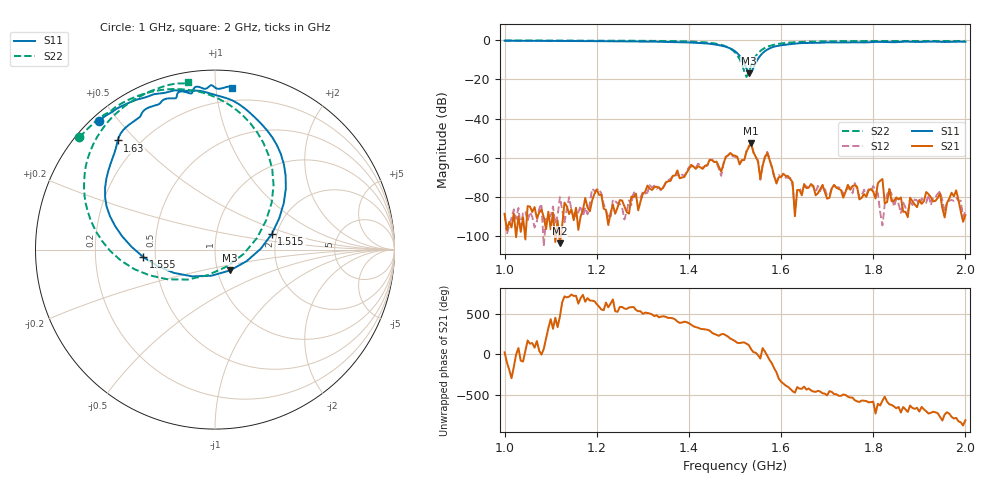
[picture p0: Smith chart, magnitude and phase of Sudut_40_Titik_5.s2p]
# Hz S RI R 50
! CMT, C1220, 16058040, 17.2.0/1
! Date: 14/08/2018 11:46:19
! Data: Format (Calibration Info)
! Freq  S11: Re/Im (F2)  S21: Re/Im (F2)  S12: Re/Im (F2)  S22: Re/Im (F2)
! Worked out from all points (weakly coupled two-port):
!   201 points, 1 GHz to 2 GHz, reference 50 ohm
!   highest |S21| = -52.52 dB at 1.535 GHz (marker M1); lowest = -103.7 dB at 1.12 GHz (marker M2)
!   lowest |S11| = -16.9 dB at 1.53 GHz (marker M3), VSWR 1.33, Z = 57.3 - j13.6 ohm
!   |S11| at or under -10 dB: 1.516 GHz to 1.549 GHz (33.08 MHz wide, 2.16 % of centre)
!   |S22| runs from -18.8 to -0.2 dB; largest |S21 - S12| = 0.00027
!   S11 on the Smith chart (normalised r, x): 1 GHz: 0.02, +0.44; 1.515 GHz: 1.88, +0.37; 1.555 GHz: 0.43, -0.04; 1.63 GHz: 0.12, +0.44; 2 GHz: 0.11, +1.11
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1e9  -0.6488 0.7152  3.42e-05 1.48e-05  -1.18e-05 -3.5e-05  -0.755 0.6247
1.12e9  -0.5246 0.7973  -1.77e-06 6.26e-06  9.31e-05 -3.42e-05  -0.6652 0.7138
1.17e9  -0.4678 0.823  4.49e-05 1.11e-05  3.16e-05 6.16e-06  -0.618 0.751
1.335e9  -0.2021 0.8857  -1.82e-05 0.000171  4.41e-06 0.000177  -0.4006 0.8663
1.45e9  0.184 0.7716  -5.52e-05 -0.000862  -0.000137 -0.000903  0.0218 0.8395
1.47e9  0.2909 0.6632  -0.000177 -0.0004  -0.000169 -0.000301  0.1619 0.741
1.48e9  0.3452 0.5816  -0.000607 -0.000857  -0.000566 -0.000882  0.2357 0.6524
1.5e9  0.3946 0.3397  -0.00108 0.000324  -0.001 0.000329  0.3262 0.3583
1.515e9  0.3165 0.0871  -0.000701 0.000507  -0.000731 0.000476  0.2338 0.0645
1.53e9  0.0829 -0.1163  -0.000721 0.00173  -0.000789 0.00179  -0.0403 -0.1423
1.535e9  -0.0197 -0.1454  0.00111 0.00209  0.00113 0.00211  -0.152 -0.1669
1.555e9  -0.4011 -0.0404  0.000174 -0.000231  0.000193 -0.000194  -0.5245 -0.0607
1.57e9  -0.5562 0.1308  0.00126 -0.000393  0.00136 -0.000411  -0.6647 0.104
1.59e9  -0.6123 0.3459  -0.000163 0.000147  -0.000167 0.000163  -0.7269 0.2999
1.615e9  -0.5601 0.5393  0.000247 -0.000235  0.000217 -0.00022  -0.7187 0.4703
1.63e9  -0.5419 0.6079  -1.36e-05 -2.91e-05  4.03e-05 -2.51e-05  -0.6968 0.5426
1.67e9  -0.4309 0.729  -3.74e-05 -0.000186  -3.52e-05 -0.000174  -0.627 0.6727
1.7e9  -0.3894 0.7806  -7.67e-05 -4.65e-05  -8.82e-05 -5.57e-05  -0.577 0.733
1.715e9  -0.3453 0.7999  -0.000137 -0.000149  -0.000137 -0.000134  -0.5516 0.7581
1.735e9  -0.3056 0.8154  -7.03e-05 -6.48e-05  -0.000105 -4.13e-05  -0.5198 0.7854
1.835e9  -0.1384 0.8701  -2.96e-05 0.000155  -7.76e-05 0.000139  -0.377 0.8744
2e9  0.0969 0.9031  -3.95e-06 -3.4e-05  2.96e-05 -3.16e-05  -0.1514 0.9344
